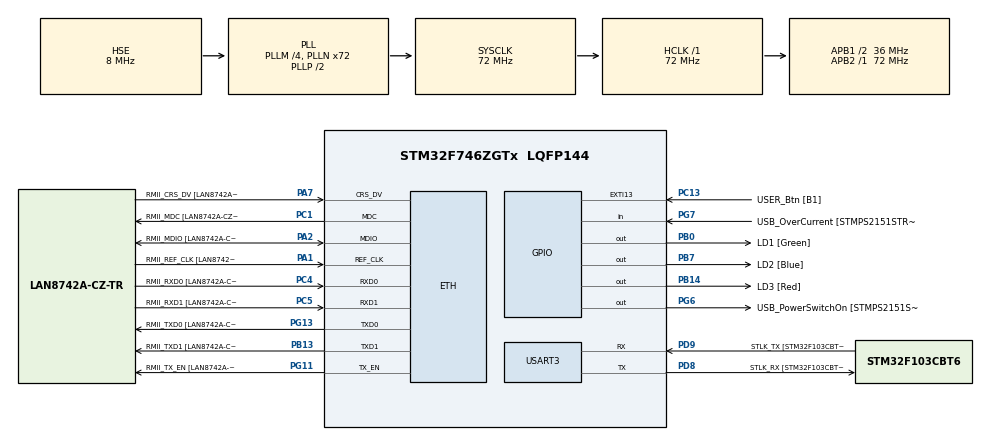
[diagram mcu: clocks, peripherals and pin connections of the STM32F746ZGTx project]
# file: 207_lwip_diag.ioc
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ETH.MediaInterface=ETH_MEDIA_INTERFACE_RMII
ETH.PHY_Name=LAN8742A_PHY_ADDRESS
ETH.PHY_Value=0
ETH.PhyAddress=0
FREERTOS.INCLUDE_vTaskDelayUntil=1
FREERTOS.Tasks01=defaultTask,0,128,StartDefaultTask,Default,NULL,Dynamic,NULL,NULL
LWIP.Version=v2.1.2_Cube
Mcu.Family=STM32F7
Mcu.Name=STM32F746ZGTx
Mcu.Package=LQFP144
NVIC.ETH_IRQn=true\:5\:0\:false\:false\:true\:true\:true\:true
NVIC.PriorityGroup=NVIC_PRIORITYGROUP_4
NVIC.TIM2_IRQn=true\:0\:0\:false\:false\:true\:false\:false\:true
NVIC.TimeBase=TIM2_IRQn
NVIC.TimeBaseIP=TIM2
PA1.GPIO_Label=RMII_REF_CLK [LAN8742A-CZ-TR_REFCLK0]
PA1.Mode=RMII
PA1.Signal=ETH_REF_CLK
PA10.GPIO_Label=USB_ID
PA10.Signal=USB_OTG_FS_ID
PA11.GPIO_Label=USB_DM
PA11.Signal=USB_OTG_FS_DM
PA12.GPIO_Label=USB_DP
PA12.Signal=USB_OTG_FS_DP
PA13.GPIO_Label=TMS
PA13.Mode=Serial_Wire
PA13.Signal=SYS_JTMS-SWDIO
PA14.GPIO_Label=TCK
PA14.Mode=Serial_Wire
PA14.Signal=SYS_JTCK-SWCLK
PA2.GPIO_Label=RMII_MDIO [LAN8742A-CZ-TR_MDIO]
PA2.Mode=RMII
PA2.Signal=ETH_MDIO
PA7.GPIO_Label=RMII_CRS_DV [LAN8742A-CZ-TR_CRS_DV]
PA7.Mode=RMII
PA7.Signal=ETH_CRS_DV
PA8.GPIO_Label=USB_SOF [TP1]
PA8.Signal=USB_OTG_FS_SOF
PA9.GPIO_Label=USB_VBUS
PA9.Signal=USB_OTG_FS_VBUS
PB0.GPIO_Label=LD1 [Green]
PB0.Signal=GPIO_Output
PB13.GPIO_Label=RMII_TXD1 [LAN8742A-CZ-TR_TXD1]
PB13.Mode=RMII
PB13.Signal=ETH_TXD1
PB14.GPIO_Label=LD3 [Red]
PB14.Signal=GPIO_Output
PB3.GPIO_Label=SW0
PB3.Signal=SYS_JTDO-SWO
PB7.GPIO_Label=LD2 [Blue]
PB7.Signal=GPIO_Output
PC1.GPIO_Label=RMII_MDC [LAN8742A-CZ-TR_MDC]
PC1.Mode=RMII
PC1.Signal=ETH_MDC
PC13.GPIO_Label=USER_Btn [B1]
PC13.Signal=GPXTI13
PC14/OSC32_IN.Mode=LSE-External-Oscillator
PC14/OSC32_IN.Signal=RCC_OSC32_IN
PC15/OSC32_OUT.Mode=LSE-External-Oscillator
PC15/OSC32_OUT.Signal=RCC_OSC32_OUT
PC4.GPIO_Label=RMII_RXD0 [LAN8742A-CZ-TR_RXD0]
PC4.Mode=RMII
PC4.Signal=ETH_RXD0
PC5.GPIO_Label=RMII_RXD1 [LAN8742A-CZ-TR_RXD1]
PC5.Mode=RMII
PC5.Signal=ETH_RXD1
PD8.GPIO_Label=STLK_RX [STM32F103CBT6_PA3]
PD8.Mode=Asynchronous
PD8.Signal=USART3_TX
PD9.GPIO_Label=STLK_TX [STM32F103CBT6_PA2]
PD9.Mode=Asynchronous
PD9.Signal=USART3_RX
PG11.GPIO_Label=RMII_TX_EN [LAN8742A-CZ-TR_TXEN]
PG11.Mode=RMII
PG11.Signal=ETH_TX_EN
PG13.GPIO_Label=RMII_TXD0 [LAN8742A-CZ-TR_TXD0]
PG13.Mode=RMII
PG13.Signal=ETH_TXD0
PG6.GPIO_Label=USB_PowerSwitchOn [STMPS2151STR_EN]
PG6.Signal=GPIO_Output
PG7.GPIO_Label=USB_OverCurrent [STMPS2151STR_FAULT]
PG7.Signal=GPIO_Input
PH0/OSC_IN.GPIO_Label=MCO [STM32F103CBT6_PA8]
PH0/OSC_IN.Mode=HSE-External-Clock-Source
PH0/OSC_IN.Signal=RCC_OSC_IN
PH1/OSC_OUT.Mode=HSE-External-Clock-Source
PH1/OSC_OUT.Signal=RCC_OSC_OUT
ProjectManager.HeapSize=0x200
ProjectManager.StackSize=0x400
ProjectManager.TargetToolchain=STM32CubeIDE
RCC.48MHZClocksFreq_Value=24000000
RCC.AHBFreq_Value=72000000
RCC.APB1CLKDivider=RCC_HCLK_DIV2
RCC.APB1Freq_Value=36000000
RCC.APB1TimFreq_Value=72000000
RCC.APB2Freq_Value=72000000
RCC.APB2TimFreq_Value=72000000
RCC.CortexFreq_Value=72000000
RCC.HCLKFreq_Value=72000000
RCC.HSE_VALUE=8000000
RCC.HSI_VALUE=16000000
RCC.PLLM=4
RCC.PLLMUL=RCC_PLL_MUL9
RCC.PLLN=72
RCC.PLLQ=3
RCC.PLLSourceVirtual=RCC_PLLSOURCE_HSE
RCC.PRESCALERUSB=RCC_USBCLKSOURCE_PLL_DIV1_5
RCC.SYSCLKFreq_VALUE=72000000
RCC.SYSCLKSource=RCC_SYSCLKSOURCE_PLLCLK
RCC.SYSCLKSourceVirtual=RCC_SYSCLKSOURCE_PLLCLK
RCC.USBFreq_Value=48000000
RCC.VCOOutputFreq_Value=144000000
USART3.VirtualMode-Asynchronous=VM_ASYNC
VP_FREERTOS_VS_CMSIS_V1.Mode=CMSIS_V1
VP_LWIP_VS_Enabled.Mode=Enabled
VP_SYS_VS_tim2.Mode=TIM2
board=NUCLEO-F746ZG

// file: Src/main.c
/* USER CODE BEGIN Header */
/**
  ******************************************************************************
  * @file           : main.c
  * @brief          : Main program body
  ******************************************************************************
  * @attention
  *
  * <h2><center>&copy; Copyright (c) 2020 STMicroelectronics.
  * All rights reserved.</center></h2>
  *
  * This software component is licensed by ST under Ultimate Liberty license
  * SLA0044, the "License"; You may not use this file except in compliance with
  * the License. You may obtain a copy of the License at:
  *                             www.st.com/SLA0044
  *
  ******************************************************************************
  */
/* USER CODE END Header */
#include "main.h"
#include "cmsis_os.h"
#include "lwip.h"

/* USER CODE BEGIN Includes */
#include <string.h>

/* USER CODE END Includes */

UART_HandleTypeDef huart3;

osThreadId defaultTaskHandle;

void SystemClock_Config(void);
static void MX_GPIO_Init(void);
static void MX_USART3_UART_Init(void);
void StartDefaultTask(void const * argument);

int main(void)
{

  /* MCU Configuration--------------------------------------------------------*/

  /* Reset of all peripherals, Initializes the Flash interface and the Systick. */
  HAL_Init();

  /* Configure the system clock */
  SystemClock_Config();

  /* Initialize all configured peripherals */
  MX_GPIO_Init();
  MX_USART3_UART_Init();
  /* USER CODE BEGIN 2 */
  MX_LWIP_Init();

  /* USER CODE END 2 */

  /* Create the thread(s) */
  /* definition and creation of defaultTask */
  osThreadDef(defaultTask, StartDefaultTask, osPriorityNormal, 0, 128);
  defaultTaskHandle = osThreadCreate(osThread(defaultTask), NULL);

  /* Start scheduler */
  osKernelStart();

  /* We should never get here as control is now taken by the scheduler */
  /* Infinite loop */
  while (1)
  {

  }
}

void SystemClock_Config(void)
{
  RCC_OscInitTypeDef RCC_OscInitStruct = {0};
  RCC_ClkInitTypeDef RCC_ClkInitStruct = {0};
  RCC_PeriphCLKInitTypeDef PeriphClkInitStruct = {0};

  /** Configure LSE Drive Capability
  */
  HAL_PWR_EnableBkUpAccess();
  /** Configure the main internal regulator output voltage
  */
  __HAL_RCC_PWR_CLK_ENABLE();
  __HAL_PWR_VOLTAGESCALING_CONFIG(PWR_REGULATOR_VOLTAGE_SCALE3);
  /** Initializes the RCC Oscillators according to the specified parameters
  * in the RCC_OscInitTypeDef structure.
  */
  RCC_OscInitStruct.OscillatorType = RCC_OSCILLATORTYPE_HSE;
  RCC_OscInitStruct.HSEState = RCC_HSE_BYPASS;
  RCC_OscInitStruct.PLL.PLLState = RCC_PLL_ON;
  RCC_OscInitStruct.PLL.PLLSource = RCC_PLLSOURCE_HSE;
  RCC_OscInitStruct.PLL.PLLM = 4;
  RCC_OscInitStruct.PLL.PLLN = 72;
  RCC_OscInitStruct.PLL.PLLP = RCC_PLLP_DIV2;
  RCC_OscInitStruct.PLL.PLLQ = 3;
  if (HAL_RCC_OscConfig(&RCC_OscInitStruct) != HAL_OK)
  {
    Error_Handler();
  }
  /** Initializes the CPU, AHB and APB buses clocks
  */
  RCC_ClkInitStruct.ClockType = RCC_CLOCKTYPE_HCLK|RCC_CLOCKTYPE_SYSCLK
                              |RCC_CLOCKTYPE_PCLK1|RCC_CLOCKTYPE_PCLK2;
  RCC_ClkInitStruct.SYSCLKSource = RCC_SYSCLKSOURCE_PLLCLK;
  RCC_ClkInitStruct.AHBCLKDivider = RCC_SYSCLK_DIV1;
  RCC_ClkInitStruct.APB1CLKDivider = RCC_HCLK_DIV2;
  RCC_ClkInitStruct.APB2CLKDivider = RCC_HCLK_DIV1;

  if (HAL_RCC_ClockConfig(&RCC_ClkInitStruct, FLASH_LATENCY_2) != HAL_OK)
  {
    Error_Handler();
  }
  PeriphClkInitStruct.PeriphClockSelection = RCC_PERIPHCLK_USART3;
  PeriphClkInitStruct.Usart3ClockSelection = RCC_USART3CLKSOURCE_PCLK1;
  if (HAL_RCCEx_PeriphCLKConfig(&PeriphClkInitStruct) != HAL_OK)
  {
    Error_Handler();
  }
}

static void MX_USART3_UART_Init(void)
{

  huart3.Instance = USART3;
  huart3.Init.BaudRate = 115200;
  huart3.Init.WordLength = UART_WORDLENGTH_8B;
  huart3.Init.StopBits = UART_STOPBITS_1;
  huart3.Init.Parity = UART_PARITY_NONE;
  huart3.Init.Mode = UART_MODE_TX_RX;
  huart3.Init.HwFlowCtl = UART_HWCONTROL_NONE;
  huart3.Init.OverSampling = UART_OVERSAMPLING_16;
  huart3.Init.OneBitSampling = UART_ONE_BIT_SAMPLE_DISABLE;
  huart3.AdvancedInit.AdvFeatureInit = UART_ADVFEATURE_NO_INIT;
  if (HAL_UART_Init(&huart3) != HAL_OK)
  {
    Error_Handler();
  }

}

static void MX_GPIO_Init(void)
{
  GPIO_InitTypeDef GPIO_InitStruct = {0};

  /* GPIO Ports Clock Enable */
  __HAL_RCC_GPIOC_CLK_ENABLE();
  __HAL_RCC_GPIOH_CLK_ENABLE();
  __HAL_RCC_GPIOA_CLK_ENABLE();
  __HAL_RCC_GPIOB_CLK_ENABLE();
  __HAL_RCC_GPIOD_CLK_ENABLE();
  __HAL_RCC_GPIOG_CLK_ENABLE();

  /*Configure GPIO pin Output Level */
  HAL_GPIO_WritePin(GPIOB, LD1_Pin|LD3_Pin|LD2_Pin, GPIO_PIN_RESET);

  /*Configure GPIO pin Output Level */
  HAL_GPIO_WritePin(USB_PowerSwitchOn_GPIO_Port, USB_PowerSwitchOn_Pin, GPIO_PIN_RESET);

  /*Configure GPIO pin : USER_Btn_Pin */
  GPIO_InitStruct.Pin = USER_Btn_Pin;
  GPIO_InitStruct.Mode = GPIO_MODE_IT_RISING;
  GPIO_InitStruct.Pull = GPIO_NOPULL;
  HAL_GPIO_Init(USER_Btn_GPIO_Port, &GPIO_InitStruct);

  /*Configure GPIO pins : LD1_Pin LD3_Pin LD2_Pin */
  GPIO_InitStruct.Pin = LD1_Pin|LD3_Pin|LD2_Pin;
  GPIO_InitStruct.Mode = GPIO_MODE_OUTPUT_PP;
  GPIO_InitStruct.Pull = GPIO_NOPULL;
  GPIO_InitStruct.Speed = GPIO_SPEED_FREQ_LOW;
  HAL_GPIO_Init(GPIOB, &GPIO_InitStruct);

  /*Configure GPIO pin : USB_PowerSwitchOn_Pin */
  GPIO_InitStruct.Pin = USB_PowerSwitchOn_Pin;
  GPIO_InitStruct.Mode = GPIO_MODE_OUTPUT_PP;
  GPIO_InitStruct.Pull = GPIO_NOPULL;
  GPIO_InitStruct.Speed = GPIO_SPEED_FREQ_LOW;
  HAL_GPIO_Init(USB_PowerSwitchOn_GPIO_Port, &GPIO_InitStruct);

  /*Configure GPIO pin : USB_OverCurrent_Pin */
  GPIO_InitStruct.Pin = USB_OverCurrent_Pin;
  GPIO_InitStruct.Mode = GPIO_MODE_INPUT;
  GPIO_InitStruct.Pull = GPIO_NOPULL;
  HAL_GPIO_Init(USB_OverCurrent_GPIO_Port, &GPIO_InitStruct);

  /*Configure GPIO pins : USB_SOF_Pin USB_ID_Pin USB_DM_Pin USB_DP_Pin */
  GPIO_InitStruct.Pin = USB_SOF_Pin|USB_ID_Pin|USB_DM_Pin|USB_DP_Pin;
  GPIO_InitStruct.Mode = GPIO_MODE_AF_PP;
  GPIO_InitStruct.Pull = GPIO_NOPULL;
  GPIO_InitStruct.Speed = GPIO_SPEED_FREQ_VERY_HIGH;
  GPIO_InitStruct.Alternate = GPIO_AF10_OTG_FS;
  HAL_GPIO_Init(GPIOA, &GPIO_InitStruct);

  /*Configure GPIO pin : USB_VBUS_Pin */
  GPIO_InitStruct.Pin = USB_VBUS_Pin;
  GPIO_InitStruct.Mode = GPIO_MODE_INPUT;
  GPIO_InitStruct.Pull = GPIO_NOPULL;
  HAL_GPIO_Init(USB_VBUS_GPIO_Port, &GPIO_InitStruct);

}

void StartDefaultTask(void const * argument)
{
  /* init code for LWIP */
  // MX_LWIP_Init(); -- moved back to the main function
  /* USER CODE BEGIN 5 */
  char buffer[50]; // Worst case: IPv6 would need 48 characters plus terminating \0

  /* Infinite loop */
  for(;;)
  {
    {
      extern struct netif gnetif;

      // This is not very efficient way to print as it does not save CPU time
      // using busy-wait to send each character but it does serve diagnostic purpose

      if (netif_is_link_up(&gnetif)) {
          HAL_UART_Transmit(&huart3, (uint8_t*)"IF is up\r\n", 10, 2);
          HAL_UART_Transmit(&huart3, (uint8_t*)"IP ADDR: ", 9, 2);
          ipaddr_ntoa_r( &gnetif.ip_addr , buffer, sizeof(buffer));
          HAL_UART_Transmit(&huart3, (uint8_t*)buffer, strlen(buffer), 6);
          HAL_UART_Transmit(&huart3, (uint8_t*)"\r\n", 2, 2);

          HAL_UART_Transmit(&huart3, (uint8_t*)"IP MASK: ", 9, 2);
          ipaddr_ntoa_r(&gnetif.netmask, buffer, sizeof(buffer));
          HAL_UART_Transmit(&huart3, (uint8_t*)buffer, strlen(buffer), 6);
          HAL_UART_Transmit(&huart3, (uint8_t*)"\r\n", 2, 2);

          HAL_UART_Transmit(&huart3, (uint8_t*)"IP GATE: ", 9, 2);
          ipaddr_ntoa_r(&gnetif.gw, buffer, sizeof(buffer));
          HAL_UART_Transmit(&huart3, (uint8_t*)buffer, strlen(buffer), 6);
          HAL_UART_Transmit(&huart3, (uint8_t*)"\r\n", 2, 2);

          HAL_UART_Transmit(&huart3, (uint8_t*)"LNK MTU: ", 9, 2);
          utoa(gnetif.mtu, buffer, 10);
          HAL_UART_Transmit(&huart3, (uint8_t*)buffer, strlen(buffer), 2);
          HAL_UART_Transmit(&huart3, (uint8_t*)"\r\n", 2, 2);

      } else {
          HAL_UART_Transmit(&huart3, (uint8_t*)"IF is down\r\n", 12, 2);
      }

      HAL_UART_Transmit(&huart3, (uint8_t*)"\r\n", 2, 2);
    }
    osDelay(1000);
  }
  /* USER CODE END 5 */
}

 /**
  * @brief  Period elapsed callback in non blocking mode
  * @note   This function is called  when TIM2 interrupt took place, inside
  * HAL_TIM_IRQHandler(). It makes a direct call to HAL_IncTick() to increment
  * a global variable "uwTick" used as application time base.
  * @param  htim : TIM handle
  * @retval None
  */
void HAL_TIM_PeriodElapsedCallback(TIM_HandleTypeDef *htim)
{
  if (htim->Instance == TIM2) {
    HAL_IncTick();
  }
}

void Error_Handler(void)
{
}

/************************ (C) COPYRIGHT STMicroelectronics *****END OF FILE****/
